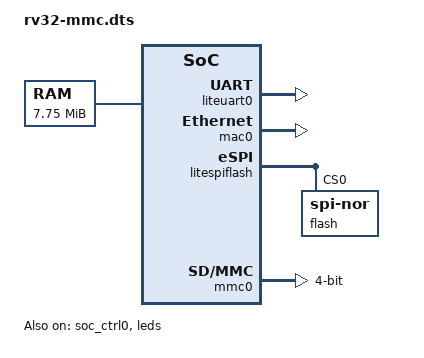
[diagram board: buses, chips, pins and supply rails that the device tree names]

/dts-v1/;

/ {
        #address-cells = <1>;
        #size-cells    = <1>;

        chosen {
            bootargs = "mem=8M@0x40000000 rootwait console=liteuart earlycon=sbi root=/dev/mmcblk0p2 init=/sbin/init swiotlb=32";
        };

        cpus {
            #address-cells = <1>;
            #size-cells    = <0>;
            timebase-frequency = <50000000>;

            cpu@0 {
                device_type = "cpu";
                compatible = "riscv";
                riscv,isa = "rv32ima";
                mmu-type = "riscv,sv32";
                reg = <0>;
		clock-frequency = <50000000>;
                status = "okay";
                L0: interrupt-controller {
                    #interrupt-cells = <0x00000001>;
                    interrupt-controller;
                    compatible = "riscv,cpu-intc";
                };
            };

    	};

        memory@40000000 {
            device_type = "memory";
            reg = <0x40000000 0x7c0000>;
        };

        reserved-memory {
            #address-cells = <1>;
            #size-cells    = <1>;
            ranges;
	    vexriscv_emulator@407c0000 {
		reg = <0x407c0000 0x20000>;
	    };
        };

        soc {
            #address-cells = <1>;
            #size-cells    = <1>;
            bus-frequency  = <50000000>;
            compatible = "simple-bus";
            ranges;

            soc_ctrl0: soc_controller@f0000000 {
                compatible = "litex,soc_controller";
                reg = <0xf0000000 0xc>;
                status = "okay";
            };

            intc0: interrupt-controller@f0c00000 {
                compatible = "sifive,plic-1.0.0", "sifive,fu540-c000-plic";
                reg = <0xf0c00000 0x400000>;
                #interrupt-cells = <1>;
                interrupt-controller;
                interrupts-extended = <
                    &L0 11 &L0 9>;
                riscv,ndev = <32>;
            };
    
            liteuart0: serial@f0001000 {
                device_type = "serial";
                compatible = "litex,liteuart";
                reg = <0xf0001000 0x100>;
                status = "okay";
            };

            mac0: mac@f0005000 {
                compatible = "litex,liteeth";
		interrupt-parent = <&intc0>;
		interrupts = <2>;
                reg = <0xf0005000 0x7c>,
                      <0xf0004800 0x10>,
                      <0xb0000000 0x4000>;
                tx-fifo-depth = <2>;
                rx-fifo-depth = <2>;
		mac-address = [10 e2 d5 00 00 00];
            };

            litespiflash: spiflash@f0003800 {
                #address-cells = <1>;
                #size-cells    = <1>;
                compatible = "litex,spiflash";
                reg = <0xf0003800 0x100>;
                flash: flash@0 {
                    compatible = "jedec,spi-nor";
                    reg = <0x0 0x1000000>;
                };
            };

            mmc0: mmc@f0005800 {
                compatible = "litex,mmc";
                reg = <
                    0xf0005800 0x100
                    0xf0006000 0x100
                    0xf0006800 0x100
                    0xf0007000 0x100>;
                bus-width = <0x04>;
                status = "okay";
            };

	    leds: gpio@f0003000 {
                compatible = "litex,gpio";
                reg = <0xf0003000 0x4>;
                litex,direction = "out";
                status = "disabled";
            };

        };

        aliases {

                serial0 = &liteuart0;

                spiflash = &litespiflash;

        };

};

&leds {
        litex,ngpio = <4>;
        status = "okay";
};
